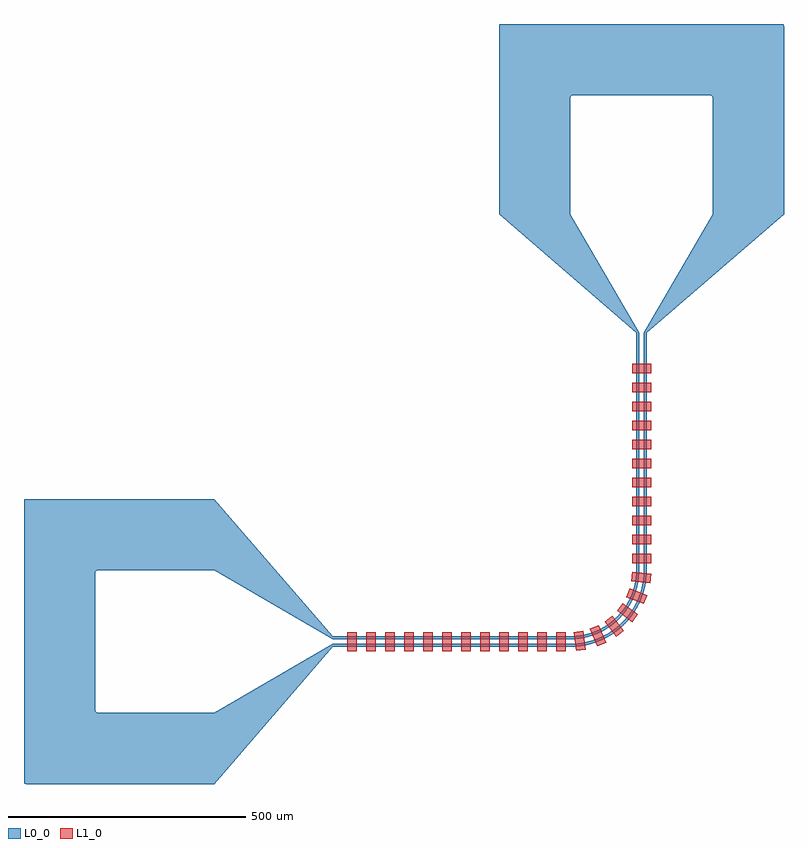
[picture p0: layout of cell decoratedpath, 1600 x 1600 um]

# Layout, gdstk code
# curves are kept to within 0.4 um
from math import pi, radians
import gdstk
lib = gdstk.Library(unit=1e-6, precision=1e-09)
def R(c, l, rs):  # rectangles x0, y0, x1, y1
    for r in rs: c.add(gdstk.rectangle(r[:2], r[2:], *l))
def P(c, l, *ps):  # polygons
    for p in ps: c.add(gdstk.Polygon(p, *l))
L0_0 = (0, 0)
L1_0 = (1, 0)

rect = lib.new_cell('rect')
R(rect, L1_0, [(-10,-20,10,20)])

decoratedpath = lib.new_cell('decoratedpath')
R(decoratedpath, L0_0, [(155,-300,400,-150), (650,-11,1150,-5), (650,5,1150,11), (155,150,400,300), (1289,150,1295,650), (1305,150,1311,650), (1000,900,1150,1145), (1450,900,1600,1145)])
P(decoratedpath, L0_0, [(155,-300),(155,-150),(151.516,-148.587),(150,-145),(150,145.054),(151.413,148.484),(155,150),(155,300),(3.811,299.857),(1.146,298.186),(0,295.054),(0.143,-296.189),(1.814,-298.854),(4.946,-300)],
  [(400,150),(650,5),(650,11),(400,300)],
  [(400,-300),(650,-11),(650,-5),(400,-150)],
  [(1150,5),(1164.609,5.738),(1178.107,7.75),(1192.302,11.308),(1205.098,15.876),(1218.251,22.067),(1230.797,29.597),(1242.487,38.325),(1252.503,47.442),(1262.293,58.265),(1270.479,69.316),(1277.903,81.693),(1283.807,94.136),(1288.711,107.76),(1292.083,121.06),(1294.258,135.345),(1295,150),(1289,150),(1288.098,134.191),(1285.589,119.395),(1281.247,104.225),(1275.588,90.429),(1269.869,79.627),(1263.341,69.534),(1256.461,60.63),(1248.261,51.686),(1239.393,43.558),(1230.489,36.675),(1220.346,30.115),(1209.661,24.455),(1195.856,18.782),(1180.623,14.415),(1164.821,11.792),(1150,11)],
  [(1150,-11),(1166.221,-10.181),(1181.209,-7.946),(1195.741,-4.366),(1211.177,1.076),(1224.763,7.411),(1238.724,15.653),(1251.881,25.336),(1263.813,36.125),(1274.684,48.143),(1283.773,60.413),(1292.017,74.156),(1298.572,87.972),(1304.017,103.099),(1307.761,117.866),(1310.176,133.728),(1311,150),(1305,150),(1303.994,132.371),(1301.196,115.872),(1296.704,99.97),(1290.439,84.411),(1284.213,72.465),(1277.006,61.15),(1268.716,50.343),(1259.572,40.369),(1249.683,31.306),(1238.829,22.979),(1227.414,15.716),(1215.582,9.558),(1199.992,3.283),(1184.148,-1.192),(1167.755,-3.98),(1150,-5)],
  [(1295,650),(1150,900),(1000,900),(1289,650)],
  [(1311,650),(1600,900),(1450,900),(1305,650)],
  [(1000,1145),(1150,1145),(1151.413,1148.484),(1155,1150),(1445.054,1150),(1448.484,1148.587),(1450,1145),(1600,1145),(1599.857,1296.189),(1598.186,1298.854),(1595.054,1300),(1003.811,1299.857),(1001.146,1298.186),(1000,1295.054)])
decoratedpath.add(gdstk.Reference(rect, (1300,574.381), rotation=pi/2))
decoratedpath.add(gdstk.Reference(rect, (1300,534.381), rotation=pi/2))
decoratedpath.add(gdstk.Reference(rect, (1300,494.381), rotation=pi/2))
decoratedpath.add(gdstk.Reference(rect, (1300,454.381), rotation=pi/2))
decoratedpath.add(gdstk.Reference(rect, (1300,414.381), rotation=pi/2))
decoratedpath.add(gdstk.Reference(rect, (1300,374.381), rotation=pi/2))
decoratedpath.add(gdstk.Reference(rect, (1300,334.381), rotation=pi/2))
decoratedpath.add(gdstk.Reference(rect, (1300,294.381), rotation=pi/2))
decoratedpath.add(gdstk.Reference(rect, (1300,254.381), rotation=pi/2))
decoratedpath.add(gdstk.Reference(rect, (1300,214.381), rotation=pi/2))
decoratedpath.add(gdstk.Reference(rect, (1300,174.381), rotation=pi/2))
decoratedpath.add(gdstk.Reference(rect, (1299.188,134.409), rotation=radians(84.0338)))
decoratedpath.add(gdstk.Reference(rect, (1289.806,95.646), rotation=radians(68.7549)))
decoratedpath.add(gdstk.Reference(rect, (1270.541,60.726), rotation=radians(53.4761)))
decoratedpath.add(gdstk.Reference(rect, (1242.755,32.117), rotation=radians(38.1972)))
decoratedpath.add(gdstk.Reference(rect, (1208.413,11.841), rotation=radians(22.9183)))
decoratedpath.add(gdstk.Reference(rect, (1169.941,1.331), rotation=radians(7.6394)))
decoratedpath.add(gdstk.Reference(rect, (1130,0)))
decoratedpath.add(gdstk.Reference(rect, (1090,0)))
decoratedpath.add(gdstk.Reference(rect, (1050,0)))
decoratedpath.add(gdstk.Reference(rect, (1010,0)))
decoratedpath.add(gdstk.Reference(rect, (970,0)))
decoratedpath.add(gdstk.Reference(rect, (930,0)))
decoratedpath.add(gdstk.Reference(rect, (890,0)))
decoratedpath.add(gdstk.Reference(rect, (850,0)))
decoratedpath.add(gdstk.Reference(rect, (810,0)))
decoratedpath.add(gdstk.Reference(rect, (770,0)))
decoratedpath.add(gdstk.Reference(rect, (730,0)))
decoratedpath.add(gdstk.Reference(rect, (690,0)))

lib.write_gds('decoratedpath.gds')
